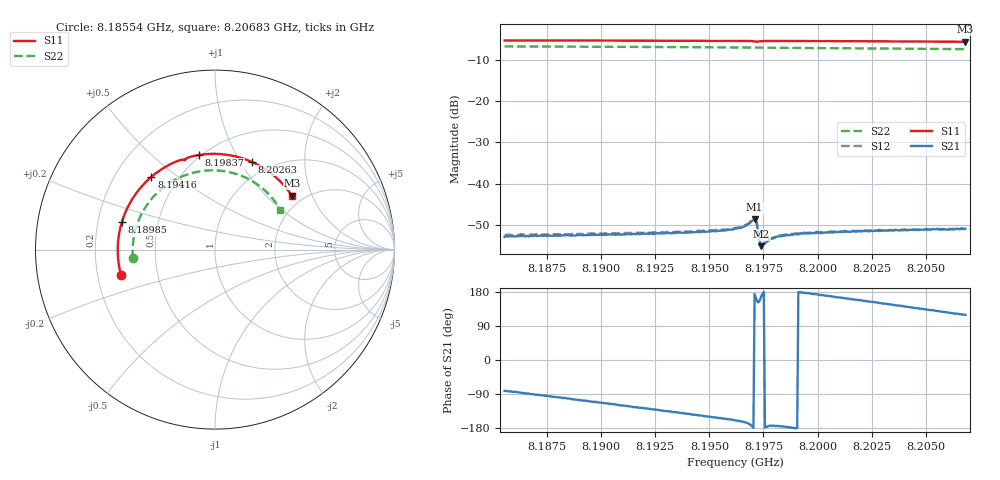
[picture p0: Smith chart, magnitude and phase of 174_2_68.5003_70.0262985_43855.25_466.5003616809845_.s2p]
#  HZ  S  RI  R  50.00
! Rohde & Schwarz Vector Network Analyzer
! Rohde-Schwarz,ZNB20-2Port,1311601062101988,3.16
! Created: UTC 3/20/2024, 4:56:19 PM
! freq[Hz]  re:S11  im:S11  re:S21  im:S21  re:S12  im:S12  re:S22  im:S22
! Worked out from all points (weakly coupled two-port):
!   401 points, 8.18554 GHz to 8.20683 GHz, reference 50 ohm
!   highest |S21| = -48.67 dB at 8.19709 GHz (marker M1); lowest = -55.1 dB at 8.19741 GHz (marker M2)
!   lowest |S11| = -5.6 dB at 8.20683 GHz (marker M3), VSWR 3.19, Z = 87.3 + j72 ohm
!   |S11| at or under -10 dB: nowhere
!   |S22| runs from -7.4 to -6.7 dB; largest |S21 - S12| = 0.00022
!   S11 on the Smith chart (normalised r, x): 8.18554 GHz: 0.30, -0.12; 8.18985 GHz: 0.30, +0.13; 8.19416 GHz: 0.36, +0.41; 8.19837 GHz: 0.49, +0.72; 8.20263 GHz: 0.82, +1.12; 8.20683 GHz: 1.75, +1.44
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8.185543e9  -0.5235 -0.1425  0.000344 -0.00224  0.000293 -0.00238  -0.4572 -0.0489
8.187352e9  -0.5418 -0.0177  -0.000143 -0.00233  -0.000201 -0.00242  -0.4552 0.0515
8.189108e9  -0.531 0.1046  -0.00067 -0.00229  -0.000739 -0.00236  -0.4323 0.1458
8.189854e9  -0.5183 0.1551  -0.000888 -0.00223  -0.000986 -0.00227  -0.4165 0.184
8.192674e9  -0.4272 0.3296  -0.00167 -0.00186  -0.00181 -0.00187  -0.3271 0.3118
8.194164e9  -0.3547 0.4053  -0.00207 -0.00154  -0.00215 -0.00146  -0.2634 0.3647
8.195388e9  -0.2846 0.456  -0.0024 -0.00123  -0.00247 -0.0012  -0.2041 0.3989
8.196187e9  -0.2344 0.4828  -0.00268 -0.00103  -0.00273 -0.000898  -0.1627 0.416
8.196559e9  -0.2096 0.4933  -0.00287 -0.000859  -0.00298 -0.000771  -0.1428 0.4226
8.196985e9  -0.1776 0.5015  -0.00356 -0.000283  -0.00364 -0.000126  -0.1197 0.4289
8.197091e9  -0.1693 0.4999  -0.00367 0.000391  -0.00373 0.000548  -0.1138 0.4301
8.197145e9  -0.1672 0.4982  -0.00349 0.000903  -0.00352 0.00104  -0.1109 0.4308
8.197357e9  -0.1637 0.5045  -0.00181 0.000587  -0.00176 0.000659  -0.0994 0.4333
8.197411e9  -0.1603 0.5071  -0.00172 0.000323  -0.00173 0.000361  -0.0964 0.434
8.197517e9  -0.1526 0.5114  -0.00186 2.45e-06  -0.00188 8.8e-05  -0.0907 0.4351
8.19789e9  -0.1256 0.5201  -0.00214 -0.000253  -0.00219 -0.00016  -0.0698 0.4384
8.198369e9  -0.0915 0.527  -0.00232 -0.00019  -0.0024 -9.22e-05  -0.0429 0.4409
8.199752e9  0.00663 0.5335  -0.00251 0.000241  -0.0025 0.00031  0.0356 0.439
8.202626e9  0.2038 0.4892  -0.0024 0.00125  -0.00235 0.00132  0.1912 0.3907
8.203318e9  0.2477 0.4674  -0.00229 0.00149  -0.00221 0.00161  0.2255 0.3701
8.205287e9  0.3592 0.3841  -0.00185 0.0021  -0.00176 0.0022  0.3116 0.2953
8.20683e9  0.4289 0.2997  -0.00139 0.00248  -0.00131 0.00257  0.3639 0.2214
